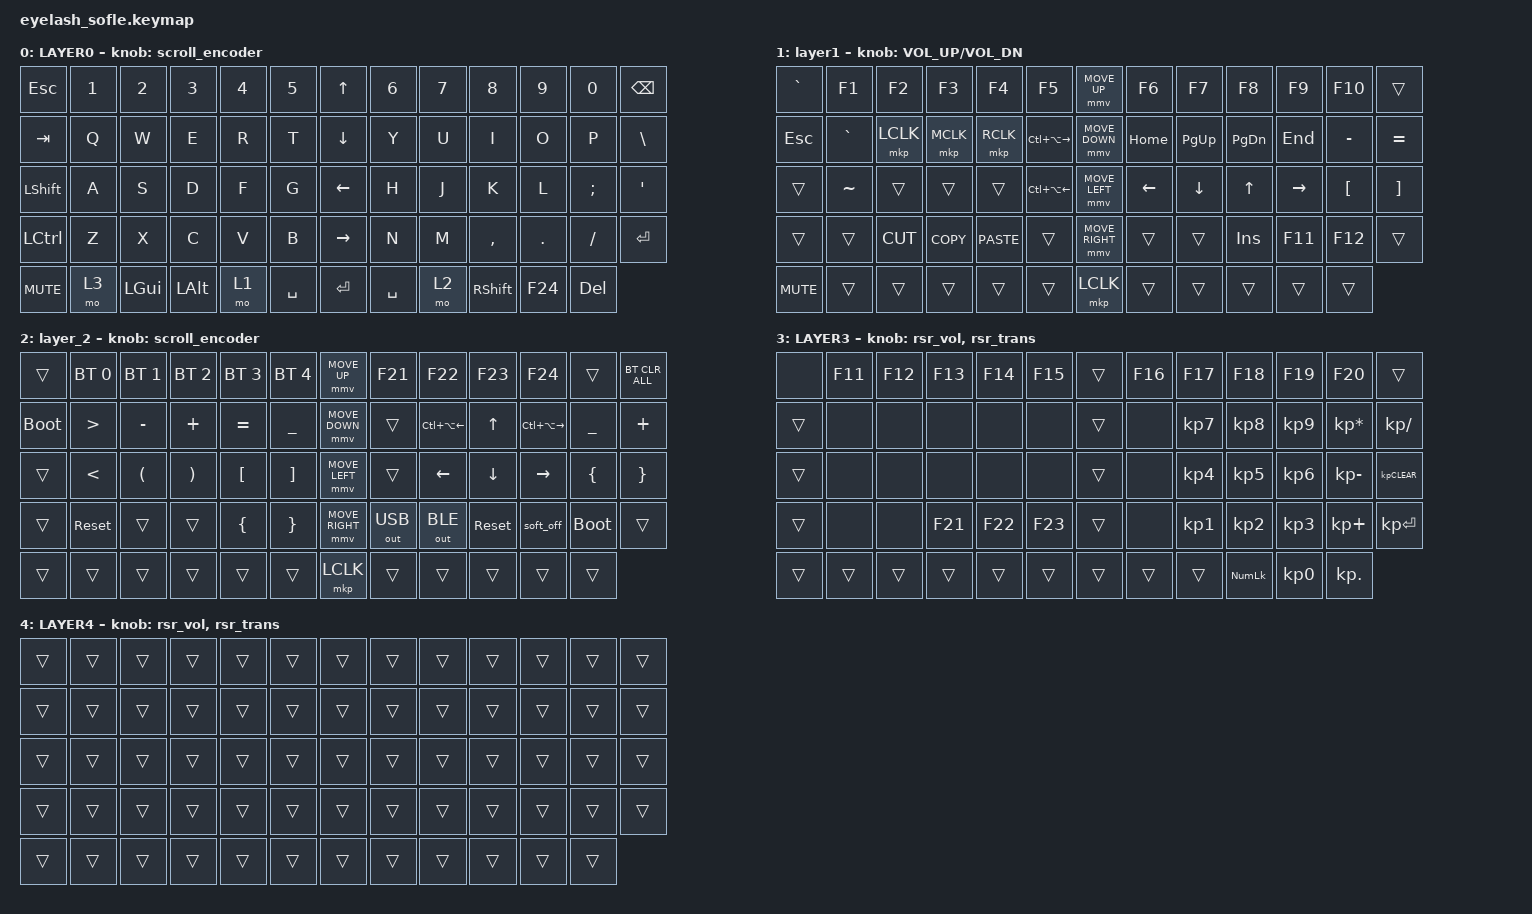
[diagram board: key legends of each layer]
#define ZMK_POINTING_DEFAULT_MOVE_VAL 1200  // 600
#define ZMK_POINTING_DEFAULT_SCRL_VAL 25   // 10

#include <input/processors.dtsi>
#include <zephyr/dt-bindings/input/input-event-codes.h>
#include <behaviors.dtsi>
#include <behaviors/runtime-sensor-rotate.dtsi>
#include <dt-bindings/zmk/bt.h>
#include <dt-bindings/zmk/keys.h>
#include <dt-bindings/zmk/outputs.h>
#include <dt-bindings/zmk/pointing.h>
#include <dt-bindings/zmk/rgb.h>

&mmv_input_listener { input-processors = <&zip_xy_scaler 2 1>; };

&msc_input_listener { input-processors = <&zip_scroll_scaler 2 1>; };

&msc {
    acceleration-exponent = <1>;      // 0
    time-to-max-speed-ms = <100>;       // 300
    delay-ms = <0>;                   // 0
};

&mmv {
    time-to-max-speed-ms = <500>;
    acceleration-exponent = <1>;
    trigger-period-ms = <16>;
};

&soft_off { hold-time-ms = <2000>; };

/ {
    scroll_encoder: scroll_encoder {
        compatible = "zmk,behavior-sensor-rotate";
        #sensor-binding-cells = <0>;
        bindings = <&msc SCRL_DOWN>, <&msc SCRL_UP>;

        tap-ms = <100>;
    };

    behaviors {
        rsr_vol: rsr_vol {
            compatible = "zmk,behavior-runtime-sensor-rotate";
            #sensor-binding-cells = <0>;
            tap-ms = <5>;
            cw-binding = <&kp C_VOL_UP>;
            ccw-binding = <&kp C_VOL_DN>;
        };

        rsr_trans: rsr_trans {
            compatible = "zmk,behavior-runtime-sensor-rotate";
            #sensor-binding-cells = <0>;
            tap-ms = <0>;
        };
    };

    combos {
        compatible = "zmk,combos";

        softoff {
            bindings = <&soft_off>;
            key-positions = <14 28 40>;
        };
    };

    macros {
        SHIFT_MCLK: SHIFT_MCLK {
            compatible = "zmk,behavior-macro";
            #binding-cells = <0>;
            bindings =
                <&macro_press>,
                <&kp LEFT_SHIFT>,
                <&macro_press>,
                <&mkp MB3>,
                <&macro_pause_for_release>,
                <&macro_release>,
                <&kp LEFT_SHIFT &mkp MB3>;

            label = "SHIFT_MCLK";
        };
    };

    keymap {
        compatible = "zmk,keymap";

        layer0 {
            bindings = <
&kp ESC     &kp N1          &kp N2        &kp N3        &kp N4  &kp N5       &kp UP_ARROW          &kp N6     &kp N7     &kp N8     &kp N9           &kp N0      &kp BACKSPACE
&kp TAB     &kp Q           &kp W         &kp E         &kp R   &kp T        &kp DOWN_ARROW          &kp Y      &kp U      &kp I      &kp O            &kp P       &kp BSLH
&kp LSHIFT  &kp A           &kp S         &kp D         &kp F   &kp G        &kp LEFT_ARROW          &kp H      &kp J      &kp K      &kp L            &kp SEMI    &kp APOS
&kp LCTRL   &kp Z           &kp X         &kp C         &kp V   &kp B        &kp RIGHT_ARROW          &kp N      &kp M      &kp COMMA  &kp DOT          &kp FSLH    &kp ENTER
&kp C_MUTE  &mo 3           &kp LEFT_GUI  &kp LALT      &mo 1   &kp SPACE    &kp ENTER          &kp SPACE  &mo 2      &kp RIGHT_SHIFT  &kp F24    &kp DELETE
            >;

            sensor-bindings = <&scroll_encoder>;
            display-name = "LAYER0";
        };

        layer_1 {
            bindings = <
&kp GRAVE   &kp F1           &kp F2          &kp F3           &kp F4           &kp F5             &mmv MOVE_UP     &kp F6           &kp F7           &kp F8      &kp F9     &kp F10           &trans
&kp ESC     &kp GRAVE        &mkp LCLK       &mkp MCLK        &mkp RCLK        &kp LC(LA(RIGHT))  &mmv MOVE_DOWN   &kp HOME         &kp PG_UP        &kp PG_DN   &kp END    &kp MINUS         &kp EQUAL
&trans      &kp TILDE        &trans          &trans           &trans           &kp LC(LA(LEFT))   &mmv MOVE_LEFT   &kp LEFT         &kp DOWN         &kp UP      &kp RIGHT  &kp LEFT_BRACKET  &kp RIGHT_BRACKET
&trans      &trans           &kp K_CUT       &kp K_COPY       &kp K_PASTE      &trans             &mmv MOVE_RIGHT  &trans           &trans           &kp INSERT  &kp F11    &kp F12           &trans
&kp C_MUTE  &trans           &trans          &trans           &trans           &trans             &mkp LCLK        &trans           &trans           &trans      &trans     &trans
            >;

            display-name = "layer1";
            sensor-bindings = <&inc_dec_kp C_VOLUME_UP C_VOL_DN>;
        };

        layer_2 {
            bindings = <
&trans     &bt BT_SEL 0  &bt BT_SEL 1 &bt BT_SEL 2  &bt BT_SEL 3      &bt BT_SEL 4           &mmv MOVE_UP     &kp F21     &kp F22                &kp F23     &kp F24                &trans        &bt BT_CLR_ALL
&bootloader   &kp GT        &kp MINUS    &kp PLUS      &kp EQUAL         &kp UNDER            &mmv MOVE_DOWN   &trans      &kp LC(LA(LEFT))       &kp UP      &kp LC(LA(RIGHT))      &kp UNDER     &kp PLUS
&trans     &kp LT        &kp LPAR        &kp RPAR      &kp LEFT_BRACKET  &kp RIGHT_BRACKET    &mmv MOVE_LEFT   &trans      &kp LEFT               &kp DOWN    &kp RIGHT              &kp LBRC      &kp RBRC
&trans     &sys_reset    &trans          &trans        &kp LBRC          &kp RBRC             &mmv MOVE_RIGHT  &out OUT_USB  &out OUT_BLE  &sys_reset  &soft_off  &bootloader  &trans
&trans     &trans        &trans          &trans        &trans            &trans               &mkp LCLK        &trans        &trans  &trans      &trans     &trans
            >;

            sensor-bindings = <&scroll_encoder>;
        };

        layer_3 {
bindings = <
&none   &kp F11  &kp F12  &kp F13  &kp F14  &kp F15   &trans  &kp F16    &kp F17    &kp F18        &kp F19       &kp F20            &trans
&trans  &none    &none    &none    &none    &none     &trans  &none      &kp KP_N7  &kp KP_N8      &kp KP_N9     &kp KP_MULTIPLY    &kp KP_DIVIDE 
&trans  &none    &none    &none    &none    &none     &trans  &none      &kp KP_N4  &kp KP_N5      &kp KP_N6     &kp KP_MINUS       &kp KP_CLEAR   
&trans  &none    &none    &kp F21  &kp F22  &kp F23   &trans  &none      &kp KP_N1  &kp KP_N2      &kp KP_N3     &kp KP_PLUS        &kp KP_ENTER
&trans  &trans   &trans   &trans   &trans   &trans    &trans  &trans     &trans     &kp KP_NUMLOCK &kp KP_N0    &kp KP_DOT    
            >;

            display-name = "LAYER3";
            sensor-bindings = <&rsr_vol &rsr_trans>;
        };

        layer_4 {
            bindings = <
&trans  &trans  &trans  &trans  &trans  &trans    &trans  &trans  &trans  &trans  &trans  &trans  &trans
&trans  &trans  &trans  &trans  &trans  &trans    &trans  &trans  &trans  &trans  &trans  &trans  &trans
&trans  &trans  &trans  &trans  &trans  &trans    &trans  &trans  &trans  &trans  &trans  &trans  &trans
&trans  &trans  &trans  &trans  &trans  &trans    &trans  &trans  &trans  &trans  &trans  &trans  &trans
&trans  &trans  &trans  &trans  &trans  &trans    &trans  &trans  &trans  &trans  &trans  &trans
            >;

            display-name = "LAYER4";
            sensor-bindings = <&rsr_vol &rsr_trans>;
        };
    };
};
